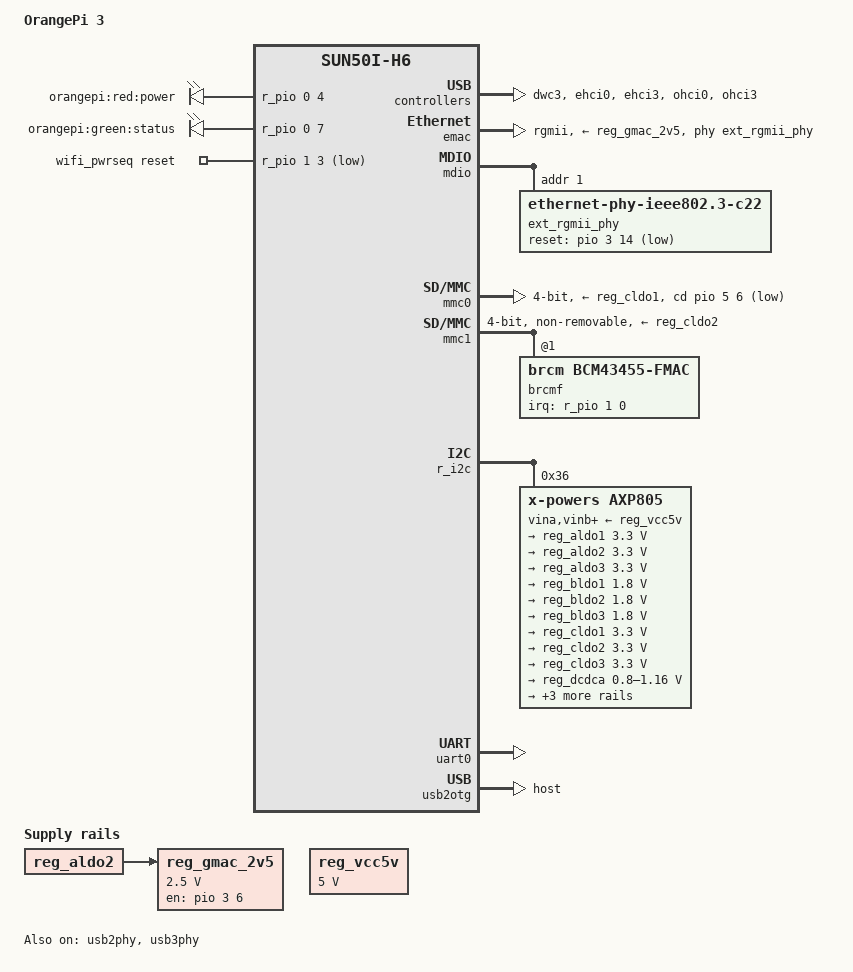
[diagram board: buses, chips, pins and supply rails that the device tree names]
// SPDX-License-Identifier: (GPL-2.0+ or MIT)
/*
 * Copyright (C) 2019 Ondřej Jirman <megous@megous.com>
 */

/dts-v1/;

#include "sun50i-h6.dtsi"

#include <dt-bindings/gpio/gpio.h>

/ {
	model = "OrangePi 3";
	compatible = "xunlong,orangepi-3", "allwinner,sun50i-h6";

	aliases {
		serial0 = &uart0;
		ethernet0 = &emac;
	};

	chosen {
		stdout-path = "serial0:115200n8";
	};

	leds {
		compatible = "gpio-leds";

		power {
			label = "orangepi:red:power";
			gpios = <&r_pio 0 4 GPIO_ACTIVE_HIGH>; /* PL4 */
			default-state = "on";
		};

		status {
			label = "orangepi:green:status";
			gpios = <&r_pio 0 7 GPIO_ACTIVE_HIGH>; /* PL7 */
		};
	};

	reg_vcc5v: vcc5v {
		/* board wide 5V supply directly from the DC jack */
		compatible = "regulator-fixed";
		regulator-name = "vcc-5v";
		regulator-min-microvolt = <5000000>;
		regulator-max-microvolt = <5000000>;
		regulator-always-on;
	};

	/*
	 * The board uses 2.5V RGMII signalling. Power sequence
	 * to enable EPHY:
	 * - enable GMAC-2V5
	 * - enable GMAC-3V3 (reg_aldo2) (with no delay!)
	 * - wait 100ms
	 */
	reg_gmac_2v5: gmac-2v5 {
                compatible = "regulator-fixed";
                regulator-name = "gmac-2v5";
                regulator-min-microvolt = <2500000>;
                regulator-max-microvolt = <2500000>;
                startup-delay-us = <100000>;
                enable-active-high;
                gpio = <&pio 3 6 GPIO_ACTIVE_HIGH>; /* PD6 */

                // this is a hack, emac requires both reg_aldo2 and
                // gmac-2v5 to be enabled, real parent of gmac-2v5
                // is reg_vcc5v
                vin-supply = <&reg_aldo2>; /* GMAC-3V3 */
        };

	wifi_pwrseq: wifi_pwrseq {
		compatible = "mmc-pwrseq-simple";
		reset-gpios = <&r_pio 1 3 GPIO_ACTIVE_LOW>; /* PM3 */
	};
};

&cpu0 {
	cpu-supply = <&reg_dcdca>;
};

&dwc3 {
	status = "okay";
};

&ehci0 {
	status = "okay";
};

&ehci3 {
	status = "okay";
};

&emac {
	pinctrl-names = "default";
	pinctrl-0 = <&ext_rgmii_pins>;
	phy-mode = "rgmii";
	phy-handle = <&ext_rgmii_phy>;
	phy-supply = <&reg_gmac_2v5>;
	allwinner,rx-delay-ps = <0>;
	allwinner,tx-delay-ps = <0>;
	status = "okay";
};

&mdio {
	ext_rgmii_phy: ethernet-phy@1 {
		compatible = "ethernet-phy-ieee802.3-c22";
		reg = <1>;

		reset-gpios = <&pio 3 14 GPIO_ACTIVE_LOW>; /* PD14 */
		reset-assert-us = <15000>;
		reset-deassert-us = <40000>;
	};
};

&mmc0 {
	pinctrl-names = "default";
	pinctrl-0 = <&mmc0_pins>;
	vmmc-supply = <&reg_cldo1>;
	cd-gpios = <&pio 5 6 GPIO_ACTIVE_LOW>; /* PF6 */
	bus-width = <4>;
	status = "okay";
};

&mmc1 {
	pinctrl-names = "default";
	pinctrl-0 = <&mmc1_pins>;
	vmmc-supply = <&reg_cldo2>;
	vqmmc-supply = <&reg_bldo2>;
	mmc-pwrseq = <&wifi_pwrseq>;
	non-removable;
	bus-width = <4>;
//	wakeup-source;
//	status = "okay";	

	brcmf: wifi@1 {
		reg = <1>;
		compatible = "brcm,bcm43455-fmac";
		interrupt-parent = <&r_pio>;
		interrupts = <1 0 IRQ_TYPE_LEVEL_LOW>; /* PM0 WL_WAKE_UP */
		interrupt-names = "host-wake";
	};
};

&ohci0 {
	status = "okay";
};

&ohci3 {
	status = "okay";
};

&r_i2c {
	status = "okay";

	axp805: pmic@36 {
		compatible = "x-powers,axp805", "x-powers,axp806";
		reg = <0x36>;
		interrupt-parent = <&r_intc>;
		interrupts = <0 IRQ_TYPE_LEVEL_LOW>;
		interrupt-controller;
		#interrupt-cells = <1>;
		x-powers,self-working-mode;
		vina-supply = <&reg_vcc5v>;
		vinb-supply = <&reg_vcc5v>;
		vinc-supply = <&reg_vcc5v>;
		vind-supply = <&reg_vcc5v>;
		vine-supply = <&reg_vcc5v>;
		aldoin-supply = <&reg_vcc5v>;
		bldoin-supply = <&reg_vcc5v>;
		cldoin-supply = <&reg_vcc5v>;

		/*
		 * Shorted regulators:
		 *
		 * ALDO3 - CLDO1
		 * CLDO2 - CLDO3 
		 */
		regulators {
			reg_aldo1: aldo1 {
				regulator-always-on;
				regulator-min-microvolt = <3300000>;
				regulator-max-microvolt = <3300000>;
				regulator-name = "vcc-pl-led-ir-wifiio-dcxoio";
			};

			reg_aldo2: aldo2 {
				regulator-min-microvolt = <3300000>;
				regulator-max-microvolt = <3300000>;
				regulator-name = "vcc33-audio-tv-ephy-mac";
			};

			reg_aldo3: aldo3 {
				regulator-always-on;
				regulator-min-microvolt = <3300000>;
				regulator-max-microvolt = <3300000>;
				regulator-name = "vcc33-io-emmc-sd-usb-uart";
			};

			reg_bldo1: bldo1 {
				regulator-always-on;
				regulator-min-microvolt = <1800000>;
				regulator-max-microvolt = <1800000>;
				regulator-name = "vcc18-dram-bias-pll";
			};

			reg_bldo2: bldo2 {
				regulator-always-on;
				regulator-min-microvolt = <1800000>;
				regulator-max-microvolt = <1800000>;
				regulator-name = "vcc-efuse-pcie-hdmi-io";
			};

			reg_bldo3: bldo3 {
				regulator-always-on;
				regulator-min-microvolt = <1800000>;
				regulator-max-microvolt = <1800000>;
				regulator-name = "vcc-dcxoio";
			};

			bldo4 {
				/* unused */
			};

			reg_cldo1: cldo1 {
				regulator-always-on;
				regulator-min-microvolt = <3300000>;
				regulator-max-microvolt = <3300000>;
				regulator-name = "vcc-3v3";
			};

			reg_cldo2: cldo2 {
 				regulator-min-microvolt = <3300000>;
				regulator-max-microvolt = <3300000>;
				regulator-name = "vcc-wifi-1";
			};

			reg_cldo3: cldo3 {
				regulator-min-microvolt = <3300000>;
				regulator-max-microvolt = <3300000>;
				regulator-name = "vcc-wifi-2";
			};

			reg_dcdca: dcdca {
				regulator-always-on;
				regulator-min-microvolt = <800000>;
				regulator-max-microvolt = <1160000>;
				regulator-name = "vdd-cpu";
			};

			reg_dcdcc: dcdcc {
				regulator-min-microvolt = <810000>;
				regulator-max-microvolt = <1080000>;
				regulator-name = "vdd-gpu";
			};

			reg_dcdcd: dcdcd {
				regulator-always-on;
				regulator-min-microvolt = <960000>;
				regulator-max-microvolt = <960000>;
				regulator-name = "vdd-sys";
			};

			reg_dcdce: dcdce {
				regulator-always-on;
				regulator-min-microvolt = <1200000>;
				regulator-max-microvolt = <1200000>;
				regulator-name = "vcc-dram";
			};

			sw {
				/* unused */
			};
		};
	};
};

&uart0 {
	pinctrl-names = "default";
	pinctrl-0 = <&uart0_ph_pins>;
	status = "okay";
};

&usb2otg {
	dr_mode = "host";
	status = "okay";
};

&usb2phy {
	usb0_id_det-gpios = <&pio 2 6 GPIO_ACTIVE_HIGH>; /* PC6 */
	usb0_vbus-supply = <&reg_vcc5v>;
	usb3_vbus-supply = <&reg_vcc5v>;
	status = "okay";
};

&usb3phy {
        phy-supply = <&reg_vcc5v>;
        status = "okay";
};
